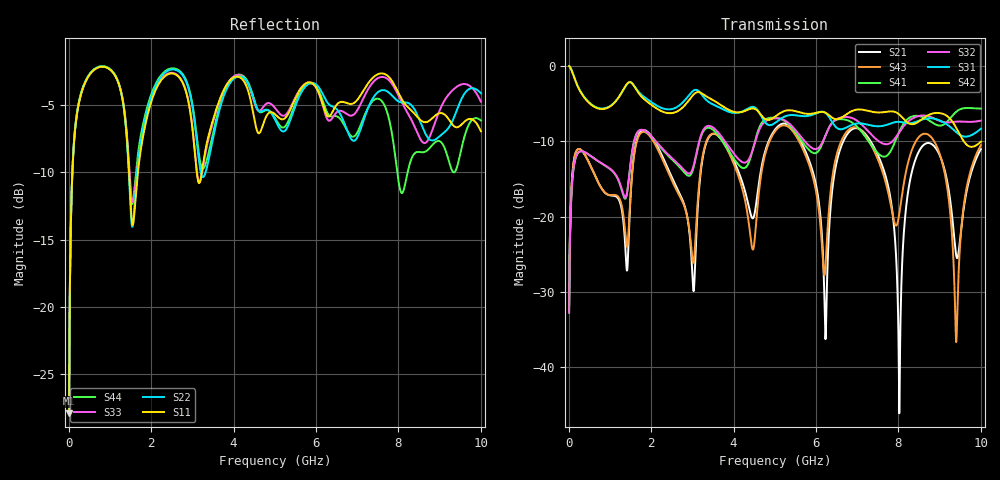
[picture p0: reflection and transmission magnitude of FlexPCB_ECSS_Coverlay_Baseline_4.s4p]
! TOUCHSTONE file generated by CST MICROWAVE STUDIO
! Date and time: Sun Jul  5 19:09:32 2026
! Project name: FlexPCB_ECSS_Coverlay_Baseline.cst
! Parameters = {Gap=0.4; GroundW=4.4; Hadh=0.025; Hcov=0.025; Hsub=0.1; L=50; Tcu=0.035; W=0.2}
! Header version: 2024
! Port assignment regex: !\s*Touchstone port\s*([0-9]+)\s*=\s*(CST MWS port|CST DES external port|CST DES block port)\s*(.+)\s* \(\"(.*)\"\)(\s*mode\s*([0-9]+))?.*
! Touchstone port assignment:
! Touchstone port 1 = CST MWS port 1 ("")
! Touchstone port 2 = CST MWS port 2 ("")
! Touchstone port 3 = CST MWS port 3 ("")
! Touchstone port 4 = CST MWS port 4 ("")
# GHz S MA R 50
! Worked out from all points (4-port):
!   1002 points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, 10 MHz to 10 GHz, reference 50 ohm
!   strongest paths, dB at 10 MHz, 2.51 GHz, 5.01 GHz, 7.503 GHz, 10 GHz:
!     S42: 0.0, -6.2, -6.7, -6.2, -10.0
!     S31: 0.0, -5.7, -7.6, -8.0, -8.3
!     S32: -32.8, -12.3, -7.0, -9.9, -7.3
!     S41: -32.8, -12.4, -6.9, -11.6, -5.7
!     S43: -31.8, -15.3, -8.7, -12.4, -10.5
!     S21: -31.8, -14.9, -8.4, -11.8, -11.1
!   lowest |S11| = -27.9 dB at 10 MHz (marker M1), VSWR 1.08, Z = 49.7 - j4 ohm
!   |S11| at or under -10 dB: start of sweep to 89.01 MHz; 1.464 GHz to 1.68 GHz (216.1 MHz wide, 13.8 % of centre); 3.107 GHz to 3.23 GHz (122.5 MHz wide, 3.87 % of centre)
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0.01  0.04023 -92.2  0.0257 84.9  0.9975 -2.8  0.02303 84.8
      0.0257 84.9  0.04071 -92.2  0.02303 84.8  0.9975 -2.8
      0.9975 -2.8  0.02303 84.8  0.04024 -92.2  0.0257 84.9
      0.02303 84.8  0.9975 -2.8  0.0257 84.9  0.04071 -92.2
1.53  0.2099 157.0  0.1812 70.8  0.7712 -169.7  0.2594 -104.3
      0.1812 70.8  0.2015 163.2  0.2596 -104.4  0.771 -171.2
      0.7712 -169.7  0.2596 -104.4  0.2512 162.7  0.1806 64.0
      0.2594 -104.3  0.771 -171.2  0.1806 64.0  0.2427 166.3
3.15  0.2898 168.2  0.1374 64.1  0.6829 13.1  0.2983 79.5
      0.1374 64.1  0.3595 152.3  0.3039 79.7  0.6711 20.6
      0.6829 13.1  0.3039 79.7  0.2925 168.4  0.1482 59.2
      0.2983 79.5  0.6711 20.6  0.1482 59.2  0.3787 151.3
6.23  0.5264 167.1  0.01534 -178.9  0.4881 42.6  0.3445 110.0
      0.01534 -178.9  0.5889 165.9  0.3461 107.1  0.4893 47.3
      0.4881 42.6  0.3461 107.1  0.5166 167.0  0.047 149.5
      0.3445 110.0  0.4893 47.3  0.047 149.5  0.5448 155.1
7.09  0.6141 179.3  0.3763 -25.7  0.4156 -41.2  0.3703 -11.9
      0.3763 -25.7  0.4604 -173.4  0.4127 -11.3  0.5139 -42.9
      0.4156 -41.2  0.4127 -11.3  0.5696 -173.2  0.3739 -26.7
      0.3703 -11.9  0.5139 -42.9  0.3739 -26.7  0.4759 172.6
8.02  0.6137 153.2  0.004932 176.4  0.4257 -138.5  0.366 -72.1
      0.004932 176.4  0.5777 169.8  0.363 -85.7  0.4763 -153.0
      0.4257 -138.5  0.363 -85.7  0.6 161.1  0.1043 138.4
      0.366 -72.1  0.4763 -153.0  0.1043 138.4  0.282 147.1
10  0.4489 152.5  0.2802 19.2  0.3829 12.6  0.521 50.9
    0.2802 19.2  0.6212 171.7  0.4334 47.8  0.3144 5.1
    0.3829 12.6  0.4334 47.8  0.5781 160.9  0.2979 21.8
    0.521 50.9  0.3144 5.1  0.2979 21.8  0.4924 178.5
